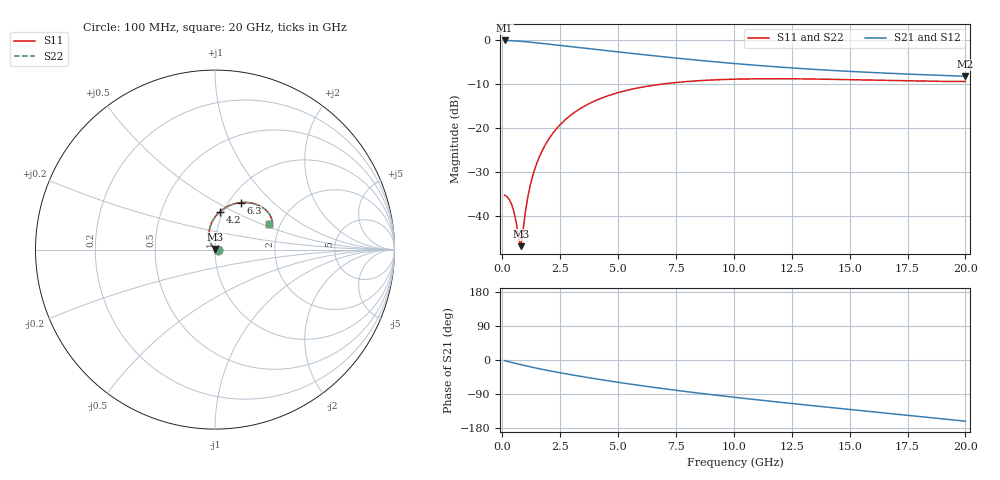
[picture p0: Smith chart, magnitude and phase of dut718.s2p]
! Touchstone file exported from HFSS 2024.1.0
!  File:  C:/UserFiles/LocalFiles/RDL_TSV_Batchsim/temp_RDL_TSV_718_1779889799.aedt
!  Generated:  10:07:11 PM May 27, 2026
!  Design:  RDL_TSV
!  Project:  temp_RDL_TSV_718_1779889799
!  Setup:  Setup1
!  Solution:  Sweep
! Variables:
!  dtsv = 14.13um
!  hbump = 3um
!  htsv = 65.08um
!  ldown = 216.65um
!  lrdl = 359.46um
!  p = 40
!  p1 = 53.32um
!  rhole = 10um
!  subl = 2087.79um
!  t = 450um
!  tdown = 2.06um
!  trdl = 4.59um
!  viad = 10um
!  wdown = 10.37um
!  wrdl = 16.01um
!  xbump = 18um
# GHz S MA R 50.000000
! Terminal data exported
! Port[1] = TM1_1_T1
! Port[2] = TM1_4_T1
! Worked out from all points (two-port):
!   200 points, 100 MHz to 20 GHz, reference 50 ohm
!   highest |S21| = -0.16 dB at 100 MHz (marker M1); lowest = -8.3 dB at 20 GHz (marker M2)
!   |S21| within 3 dB of the highest: start of sweep to 5.697 GHz
!   lowest |S11| = -46.8 dB at 800 MHz (marker M3), VSWR 1.01, Z = 50.2 + j0.425 ohm
!   |S11| at or under -10 dB: start of sweep to 6.967 GHz
!   |S22| runs from -46.8 to -8.8 dB; largest |S21 - S12| = 1.6e-14
!   S11 on the Smith chart (normalised r, x): 100 MHz: 1.04, -0.00; 4.2 GHz: 0.96, +0.43; 6.3 GHz: 1.13, +0.65; 20 GHz: 1.75, +0.57
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0.1  0.01733 -0.3  0.982 -1.6  0.982 -1.6  0.01733 -0.3
! Gamma 0 0 0 0
! Port Impedance 50 0 50 0
0.3  0.01548 -1.1  0.9787 -4.7  0.9787 -4.7  0.01548 -1.1
0.5  0.01131 0.9  0.9729 -7.8  0.9729 -7.8  0.01132 0.9
0.6  0.008527 6.8  0.9693 -9.3  0.9693 -9.3  0.008535 6.8
0.7  0.005746 24.1  0.9652 -10.8  0.9652 -10.8  0.005754 24.0
0.8  0.004581 67.7  0.9608 -12.3  0.9608 -12.3  0.004582 67.5
1  0.01132 120.4  0.9508 -15.1  0.9508 -15.1  0.0113 120.3
1.1  0.01642 125.3  0.9454 -16.5  0.9454 -16.5  0.0164 125.3
1.2  0.02199 126.8  0.9398 -17.9  0.9398 -17.9  0.02197 126.8
1.4  0.03407 126.0  0.9281 -20.5  0.9281 -20.5  0.03404 126.0
1.6  0.04703 123.3  0.9159 -23.1  0.9159 -23.1  0.04698 123.3
2  0.07436 116.3  0.8913 -28.0  0.8913 -28.0  0.07429 116.3
2.4  0.1022 109.1  0.867 -32.6  0.867 -32.6  0.1021 109.1
2.9  0.1362 100.7  0.8378 -38.1  0.8378 -38.1  0.1361 100.7
3.5  0.1742 91.7  0.8044 -44.4  0.8044 -44.4  0.174 91.7
4.2  0.2136 82.5  0.7675 -51.3  0.7675 -51.3  0.2133 82.5
6.3  0.2985 61.4  0.6686 -70.2  0.6686 -70.2  0.2982 61.4
6.8  0.3122 57.5  0.6476 -74.3  0.6476 -74.3  0.3118 57.4
10.1  0.358 38.7  0.5357 -98.9  0.5357 -98.9  0.3575 38.6
13.4  0.359 28.6  0.463 -120.5  0.463 -120.5  0.3585 28.5
16.7  0.3451 24.7  0.4168 -141.0  0.4168 -141.0  0.3446 24.6
20  0.3365 25.5  0.3861 -161.5  0.3861 -161.5  0.3361 25.5
